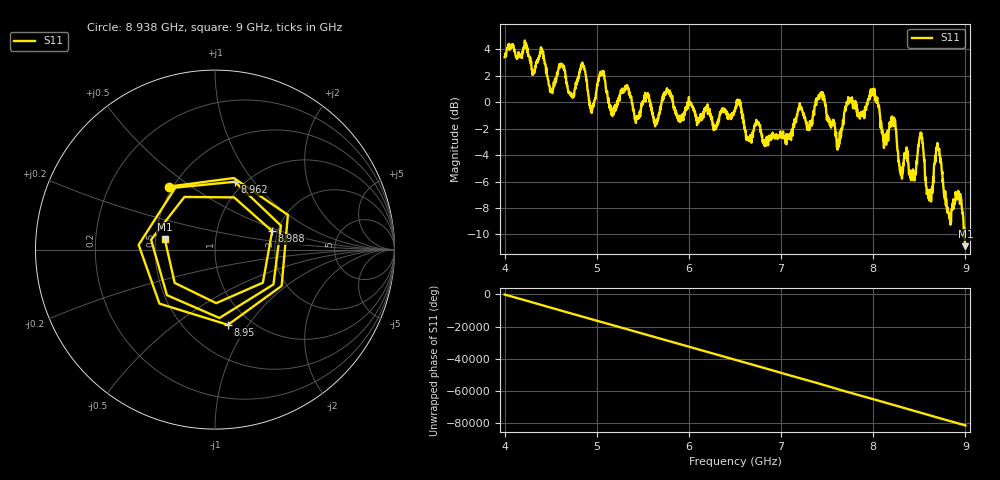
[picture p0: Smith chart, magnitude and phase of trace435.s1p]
! Created with skrf 1.8.0 (http://scikit-rf.org).
# Hz S RI R 50.0
!freq ReS11 ImS11
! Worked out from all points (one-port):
!   1601 points, 4 GHz to 9 GHz, reference 50 ohm
!   lowest |S11| = -10.9 dB at 9 GHz (marker M1), VSWR 1.80, Z = 28 + j3.48 ohm
!   |S11| at or under -10 dB: 8.983321 GHz to 8.985068 GHz (1.747 MHz wide, 0.0194 % of centre); 8.991909 GHz to end of sweep
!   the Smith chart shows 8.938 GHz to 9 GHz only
!   S11 on the Smith chart (normalised r, x): 8.938 GHz: 0.47, +0.41; 8.95 GHz: 0.79, -0.81; 8.962 GHz: 0.90, +0.81; 8.988 GHz: 1.87, +0.43; 9 GHz: 0.56, +0.07
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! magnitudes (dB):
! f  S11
! 4 GHz  3.4
! 4.406 GHz  4.0
! 4.503 GHz  0.9
! 4.625 GHz  2.9
! 4.731 GHz  0.5
! 4.853 GHz  2.8
! 4.944 GHz  -0.5
! 5.047 GHz  2.3
! 5.159 GHz  -0.9
! 5.25 GHz  0.6
! 5.875 GHz  -1.0
! 6.5 GHz  -0.6
! 6.656 GHz  -2.9
! 7.125 GHz  -2.5
! 7.441 GHz  0.7
! 7.625 GHz  -3.4
! 7.75 GHz  0.2
! 8 GHz  1.0
! 8.375 GHz  -4.2
! 8.519 GHz  -2.4
! 8.612 GHz  -7.4
! 8.706 GHz  -3.5
! 8.819 GHz  -8.4
! 8.938 GHz  -7.2
! 8.95 GHz  -7.4
! 8.962 GHz  -8.1
! 8.988 GHz  -9.5
! 9 GHz  -10.9
